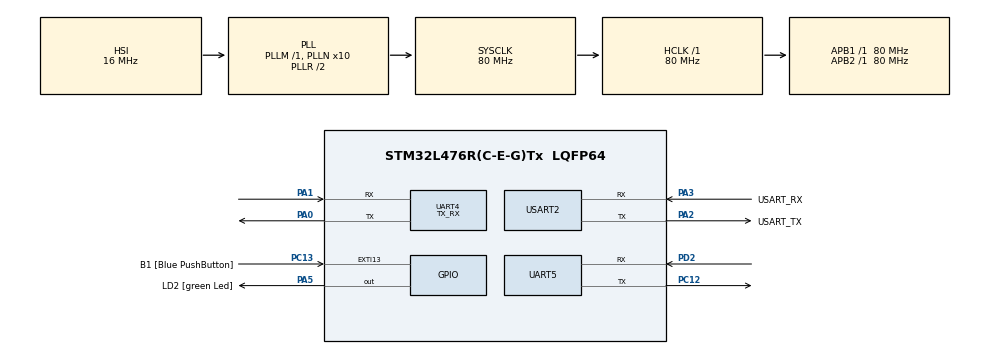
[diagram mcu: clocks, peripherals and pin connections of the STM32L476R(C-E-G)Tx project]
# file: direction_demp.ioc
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Mcu.Family=STM32L4
Mcu.Name=STM32L476R(C-E-G)Tx
Mcu.Package=LQFP64
NVIC.EXTI15_10_IRQn=true\:0\:0\:false\:false\:true\:true\:true\:true
NVIC.PriorityGroup=NVIC_PRIORITYGROUP_4
NVIC.UART4_IRQn=true\:0\:0\:false\:false\:true\:true\:true\:true
NVIC.UART5_IRQn=true\:0\:0\:false\:false\:true\:true\:true\:true
NVIC.USART2_IRQn=true\:0\:0\:false\:false\:true\:true\:true\:true
PA0.Mode=Asynchronous
PA0.Signal=UART4_TX
PA1.Mode=Asynchronous
PA1.Signal=UART4_RX
PA13\ (JTMS-SWDIO).GPIO_Label=TMS
PA13\ (JTMS-SWDIO).Mode=Serial_Wire
PA13\ (JTMS-SWDIO).Signal=SYS_JTMS-SWDIO
PA14\ (JTCK-SWCLK).GPIO_Label=TCK
PA14\ (JTCK-SWCLK).Mode=Serial_Wire
PA14\ (JTCK-SWCLK).Signal=SYS_JTCK-SWCLK
PA2.GPIO_Label=USART_TX
PA2.GPIO_Mode=GPIO_MODE_AF_PP
PA2.GPIO_PuPd=GPIO_NOPULL
PA2.GPIO_Speed=GPIO_SPEED_FREQ_VERY_HIGH
PA2.Mode=Asynchronous
PA2.Signal=USART2_TX
PA3.GPIO_Label=USART_RX
PA3.GPIO_Mode=GPIO_MODE_AF_PP
PA3.GPIO_PuPd=GPIO_NOPULL
PA3.GPIO_Speed=GPIO_SPEED_FREQ_VERY_HIGH
PA3.Mode=Asynchronous
PA3.Signal=USART2_RX
PA5.GPIO_Label=LD2 [green Led]
PA5.GPIO_ModeDefaultOutputPP=GPIO_MODE_OUTPUT_PP
PA5.GPIO_PuPd=GPIO_NOPULL
PA5.GPIO_Speed=GPIO_SPEED_FREQ_LOW
PA5.Signal=GPIO_Output
PB3\ (JTDO-TRACESWO).GPIO_Label=SWO
PB3\ (JTDO-TRACESWO).Signal=SYS_JTDO-SWO
PC12.Mode=Asynchronous
PC12.Signal=UART5_TX
PC13.GPIO_Label=B1 [Blue PushButton]
PC13.GPIO_ModeDefaultEXTI=GPIO_MODE_IT_FALLING
PC13.GPIO_PuPd=GPIO_NOPULL
PC13.Signal=GPXTI13
PC14-OSC32_IN\ (PC14).Mode=LSE-External-Oscillator
PC14-OSC32_IN\ (PC14).Signal=RCC_OSC32_IN
PC15-OSC32_OUT\ (PC15).Mode=LSE-External-Oscillator
PC15-OSC32_OUT\ (PC15).Signal=RCC_OSC32_OUT
PD2.Mode=Asynchronous
PD2.Signal=UART5_RX
PH0-OSC_IN\ (PH0).Signal=RCC_OSC_IN
PH1-OSC_OUT\ (PH1).Signal=RCC_OSC_OUT
ProjectManager.HeapSize=0x200
ProjectManager.StackSize=0x400
ProjectManager.TargetToolchain=STM32CubeIDE
RCC.ADCFreq_Value=64000000
RCC.AHBFreq_Value=80000000
RCC.APB1Freq_Value=80000000
RCC.APB1TimFreq_Value=80000000
RCC.APB2Freq_Value=80000000
RCC.APB2TimFreq_Value=80000000
RCC.CortexFreq_Value=80000000
RCC.HCLKFreq_Value=80000000
RCC.HSE_VALUE=8000000
RCC.HSI_VALUE=16000000
RCC.MSI_VALUE=4000000
RCC.PLLN=10
RCC.PLLSourceVirtual=RCC_PLLSOURCE_HSI
RCC.PREFETCH_ENABLE=1
RCC.SYSCLKFreq_VALUE=80000000
RCC.SYSCLKSource=RCC_SYSCLKSOURCE_PLLCLK
RCC.USBFreq_Value=64000000
RCC.VCOOutputFreq_Value=160000000
UART4.Mode=MODE_TX_RX
USART2.VirtualMode-Asynchronous=VM_ASYNC
board=NUCLEO-L476RG

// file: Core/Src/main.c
/* USER CODE BEGIN Header */
/**
******************************************************************************
* @file           : main.c
* @brief          : Main program body
******************************************************************************
* @attention
*
* Copyright (c) 2026 STMicroelectronics.
* All rights reserved.
*
* This software is licensed under terms that can be found in the LICENSE file
* in the root directory of this software component.
* If no LICENSE file comes with this software, it is provided AS-IS.
*
******************************************************************************
*/
/* USER CODE END Header */
#include "main.h"

/* USER CODE BEGIN Includes */
#include <stdio.h>
#include <stdbool.h>
/* USER CODE END Includes */

UART_HandleTypeDef huart4;
UART_HandleTypeDef huart5;
UART_HandleTypeDef huart2;

void SystemClock_Config(void);
static void MX_GPIO_Init(void);
static void MX_UART4_Init(void);
static void MX_UART5_Init(void);
static void MX_USART2_UART_Init(void);

/* USER CODE BEGIN 0 */
uint8_t rx_data4;
uint8_t rx_index_data4;
char recvd_data4[32];
bool process_uart4 = false; // Flag for processing said data

float data4_beacon_lat;
float data4_beacon_lon;

float data4_tracker_lat;
float data4_tracker_lon;

int data4_rssi;

uint8_t rx_data5;
uint8_t rx_index_data5;
char recvd_data5[32];
bool process_uart5 = false; // Flag for processing said data

float data5_beacon_lat;
float data5_beacon_lon;

float data5_tracker_lat;
float data5_tracker_lon;

int data5_rssi;

/* USER CODE END 0 */

int main(void)
{

  /* MCU Configuration--------------------------------------------------------*/

  /* Reset of all peripherals, Initializes the Flash interface and the Systick. */
  HAL_Init();

  /* Configure the system clock */
  SystemClock_Config();

  /* Initialize all configured peripherals */
  MX_GPIO_Init();
  MX_UART4_Init();
  MX_UART5_Init();
  MX_USART2_UART_Init();
  /* USER CODE BEGIN 2 */

  HAL_UART_Receive_IT(&huart4, &rx_data4, 1); //start next data receive interrupt
  HAL_UART_Receive_IT(&huart5, &rx_data5, 1); //start next data receive interrupt

  /* USER CODE END 2 */

  /* Infinite loop */
  /* USER CODE BEGIN WHILE */
  while (1)
    {

      if (process_uart4) {
        if ('G' == recvd_data4[0]) {
          int count = sscanf(recvd_data4, "GPS: %f,%f", &data4_beacon_lat, &data4_beacon_lon);
        } else if ('-' == recvd_data4[0]) {
          int count = sscanf(recvd_data4, "%d", &data4_rssi);
        } else {
          int count = sscanf(recvd_data4, "%f,%f", &data4_tracker_lat, &data4_tracker_lon);
        }
        process_uart4 = false;
      }

      if (process_uart5) {
        if ('G' == recvd_data5[0]) {
          int count = sscanf(recvd_data5, "GPS: %f,%f", &data5_beacon_lat, &data5_beacon_lon);
        } else if ('-' == recvd_data5[0]) {
          int count = sscanf(recvd_data5, "%d", &data5_rssi);
        } else {
          int count = sscanf(recvd_data5, "%f,%f", &data5_tracker_lat, &data5_tracker_lon);
        }
        process_uart5 = false;
      }
    /* USER CODE END WHILE */

    }
}

void SystemClock_Config(void)
{
  RCC_OscInitTypeDef RCC_OscInitStruct = {0};
  RCC_ClkInitTypeDef RCC_ClkInitStruct = {0};

  /** Configure the main internal regulator output voltage
  */
  if (HAL_PWREx_ControlVoltageScaling(PWR_REGULATOR_VOLTAGE_SCALE1) != HAL_OK)
  {
    Error_Handler();
  }

  /** Initializes the RCC Oscillators according to the specified parameters
  * in the RCC_OscInitTypeDef structure.
  */
  RCC_OscInitStruct.OscillatorType = RCC_OSCILLATORTYPE_HSI;
  RCC_OscInitStruct.HSIState = RCC_HSI_ON;
  RCC_OscInitStruct.HSICalibrationValue = RCC_HSICALIBRATION_DEFAULT;
  RCC_OscInitStruct.PLL.PLLState = RCC_PLL_ON;
  RCC_OscInitStruct.PLL.PLLSource = RCC_PLLSOURCE_HSI;
  RCC_OscInitStruct.PLL.PLLM = 1;
  RCC_OscInitStruct.PLL.PLLN = 10;
  RCC_OscInitStruct.PLL.PLLP = RCC_PLLP_DIV7;
  RCC_OscInitStruct.PLL.PLLQ = RCC_PLLQ_DIV2;
  RCC_OscInitStruct.PLL.PLLR = RCC_PLLR_DIV2;
  if (HAL_RCC_OscConfig(&RCC_OscInitStruct) != HAL_OK)
  {
    Error_Handler();
  }

  /** Initializes the CPU, AHB and APB buses clocks
  */
  RCC_ClkInitStruct.ClockType = RCC_CLOCKTYPE_HCLK|RCC_CLOCKTYPE_SYSCLK
                              |RCC_CLOCKTYPE_PCLK1|RCC_CLOCKTYPE_PCLK2;
  RCC_ClkInitStruct.SYSCLKSource = RCC_SYSCLKSOURCE_PLLCLK;
  RCC_ClkInitStruct.AHBCLKDivider = RCC_SYSCLK_DIV1;
  RCC_ClkInitStruct.APB1CLKDivider = RCC_HCLK_DIV1;
  RCC_ClkInitStruct.APB2CLKDivider = RCC_HCLK_DIV1;

  if (HAL_RCC_ClockConfig(&RCC_ClkInitStruct, FLASH_LATENCY_4) != HAL_OK)
  {
    Error_Handler();
  }
}

static void MX_UART4_Init(void)
{

  huart4.Instance = UART4;
  huart4.Init.BaudRate = 115200;
  huart4.Init.WordLength = UART_WORDLENGTH_8B;
  huart4.Init.StopBits = UART_STOPBITS_1;
  huart4.Init.Parity = UART_PARITY_NONE;
  huart4.Init.Mode = UART_MODE_TX_RX;
  huart4.Init.HwFlowCtl = UART_HWCONTROL_NONE;
  huart4.Init.OverSampling = UART_OVERSAMPLING_16;
  huart4.Init.OneBitSampling = UART_ONE_BIT_SAMPLE_DISABLE;
  huart4.AdvancedInit.AdvFeatureInit = UART_ADVFEATURE_NO_INIT;
  if (HAL_UART_Init(&huart4) != HAL_OK)
  {
    Error_Handler();
  }

}

static void MX_UART5_Init(void)
{

  huart5.Instance = UART5;
  huart5.Init.BaudRate = 115200;
  huart5.Init.WordLength = UART_WORDLENGTH_8B;
  huart5.Init.StopBits = UART_STOPBITS_1;
  huart5.Init.Parity = UART_PARITY_NONE;
  huart5.Init.Mode = UART_MODE_TX_RX;
  huart5.Init.HwFlowCtl = UART_HWCONTROL_NONE;
  huart5.Init.OverSampling = UART_OVERSAMPLING_16;
  huart5.Init.OneBitSampling = UART_ONE_BIT_SAMPLE_DISABLE;
  huart5.AdvancedInit.AdvFeatureInit = UART_ADVFEATURE_NO_INIT;
  if (HAL_UART_Init(&huart5) != HAL_OK)
  {
    Error_Handler();
  }

}

static void MX_USART2_UART_Init(void)
{

  huart2.Instance = USART2;
  huart2.Init.BaudRate = 115200;
  huart2.Init.WordLength = UART_WORDLENGTH_8B;
  huart2.Init.StopBits = UART_STOPBITS_1;
  huart2.Init.Parity = UART_PARITY_NONE;
  huart2.Init.Mode = UART_MODE_TX_RX;
  huart2.Init.HwFlowCtl = UART_HWCONTROL_NONE;
  huart2.Init.OverSampling = UART_OVERSAMPLING_16;
  huart2.Init.OneBitSampling = UART_ONE_BIT_SAMPLE_DISABLE;
  huart2.AdvancedInit.AdvFeatureInit = UART_ADVFEATURE_NO_INIT;
  if (HAL_UART_Init(&huart2) != HAL_OK)
  {
    Error_Handler();
  }

}

static void MX_GPIO_Init(void)
{
  GPIO_InitTypeDef GPIO_InitStruct = {0};

  /* GPIO Ports Clock Enable */
  __HAL_RCC_GPIOC_CLK_ENABLE();
  __HAL_RCC_GPIOH_CLK_ENABLE();
  __HAL_RCC_GPIOA_CLK_ENABLE();
  __HAL_RCC_GPIOD_CLK_ENABLE();
  __HAL_RCC_GPIOB_CLK_ENABLE();

  /*Configure GPIO pin Output Level */
  HAL_GPIO_WritePin(LD2_GPIO_Port, LD2_Pin, GPIO_PIN_RESET);

  /*Configure GPIO pin : B1_Pin */
  GPIO_InitStruct.Pin = B1_Pin;
  GPIO_InitStruct.Mode = GPIO_MODE_IT_FALLING;
  GPIO_InitStruct.Pull = GPIO_NOPULL;
  HAL_GPIO_Init(B1_GPIO_Port, &GPIO_InitStruct);

  /*Configure GPIO pin : LD2_Pin */
  GPIO_InitStruct.Pin = LD2_Pin;
  GPIO_InitStruct.Mode = GPIO_MODE_OUTPUT_PP;
  GPIO_InitStruct.Pull = GPIO_NOPULL;
  GPIO_InitStruct.Speed = GPIO_SPEED_FREQ_LOW;
  HAL_GPIO_Init(LD2_GPIO_Port, &GPIO_InitStruct);

  /* EXTI interrupt init*/
  HAL_NVIC_SetPriority(EXTI15_10_IRQn, 0, 0);
  HAL_NVIC_EnableIRQ(EXTI15_10_IRQn);

}

/* USER CODE BEGIN 4 */
void HAL_UART_RxCpltCallback(UART_HandleTypeDef *huart)
{
  if (huart == &huart4) {
    recvd_data4[rx_index_data4++] = rx_data4;
    if (rx_data4 == '\n' || rx_index_data4 >= sizeof(recvd_data4) - 1) {
      recvd_data4[rx_index_data4] = '\0';
      rx_index_data4 = 0; // Reset index for the next line
      process_uart4 = true;
    }

    HAL_UART_Receive_IT(&huart4, &rx_data4, 1);
  } else if (huart == &huart5) {
    recvd_data5[rx_index_data5++] = rx_data5;
    if(rx_data5 == '\n' || rx_index_data5 >= sizeof(recvd_data5) - 1) {
    	recvd_data5[rx_index_data5] = '\0';
      rx_index_data5 = 0; // Reset index for the next line
      process_uart5 = true;
    }

    HAL_UART_Receive_IT(&huart5, &rx_data5, 1);
  }
}
/* USER CODE END 4 */

void Error_Handler(void)
{
  __disable_irq();
  while (1)
    {
    }
}
